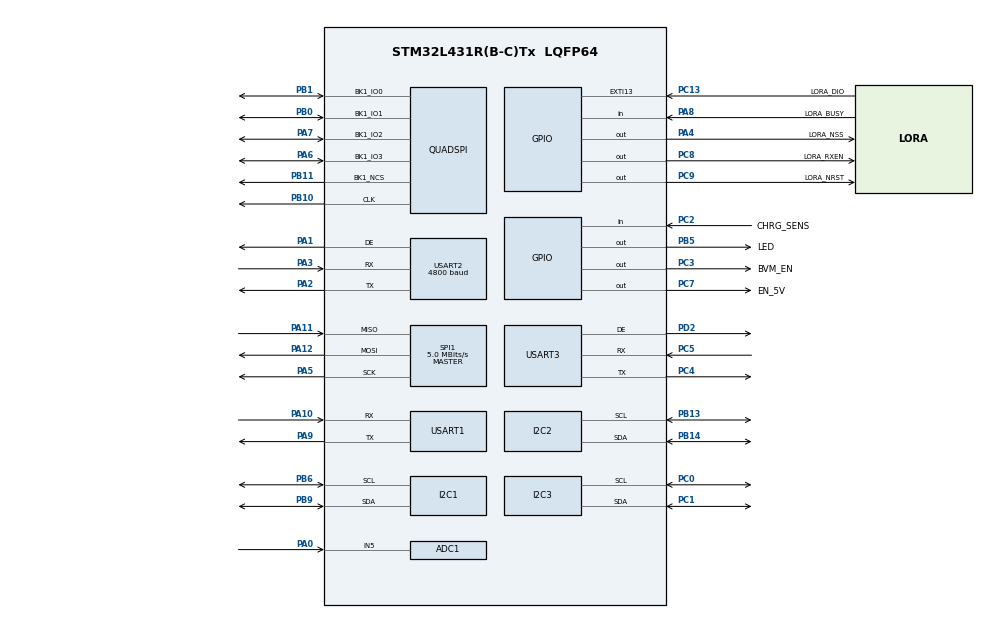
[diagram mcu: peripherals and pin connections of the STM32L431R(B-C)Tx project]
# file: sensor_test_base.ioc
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ADC1.Channel-1\#ChannelRegularConversion=ADC_CHANNEL_5
ADC1.ClockPrescaler=ADC_CLOCK_ASYNC_DIV128
ADC1.NbrOfConversion=1
ADC1.NbrOfConversionFlag=1
ADC1.OffsetNumber-1\#ChannelRegularConversion=ADC_OFFSET_NONE
ADC1.Rank-1\#ChannelRegularConversion=1
ADC1.SamplingTime-1\#ChannelRegularConversion=ADC_SAMPLETIME_2CYCLES_5
ADC1.master=1
Dma.Request0=USART1_TX
Dma.USART1_TX.0.Direction=DMA_MEMORY_TO_PERIPH
Dma.USART1_TX.0.Instance=DMA1_Channel4
Dma.USART1_TX.0.MemDataAlignment=DMA_MDATAALIGN_BYTE
Dma.USART1_TX.0.MemInc=DMA_MINC_ENABLE
Dma.USART1_TX.0.Mode=DMA_NORMAL
Dma.USART1_TX.0.PeriphDataAlignment=DMA_PDATAALIGN_BYTE
Dma.USART1_TX.0.PeriphInc=DMA_PINC_DISABLE
Dma.USART1_TX.0.Priority=DMA_PRIORITY_LOW
I2C1.Timing=0x10D19CE4
I2C2.Timing=0x10D19CE4
I2C3.Timing=0x10D19CE4
LPTIM1.ClockPrescaler=LPTIM_PRESCALER_DIV16
Mcu.Family=STM32L4
Mcu.Name=STM32L431R(B-C)Tx
Mcu.Package=LQFP64
NVIC.DMA1_Channel4_IRQn=true\:0\:0\:false\:false\:true\:false\:true\:true
NVIC.EXTI15_10_IRQn=true\:0\:0\:false\:false\:true\:true\:true\:true
NVIC.LPTIM1_IRQn=true\:0\:0\:false\:false\:true\:true\:true\:true
NVIC.PriorityGroup=NVIC_PRIORITYGROUP_4
NVIC.RTC_WKUP_IRQn=true\:0\:0\:false\:false\:true\:true\:true\:true
NVIC.USART1_IRQn=true\:0\:0\:false\:false\:true\:true\:true\:true
PA0.Signal=ADCx_IN5
PA1.Mode=Hardware Flow Control (RS485)
PA1.Signal=USART2_DE
PA10.Mode=Asynchronous
PA10.Signal=USART1_RX
PA11.Mode=Full_Duplex_Master
PA11.Signal=SPI1_MISO
PA12.Mode=Full_Duplex_Master
PA12.Signal=SPI1_MOSI
PA13\ (JTMS-SWDIO).Mode=JTAG_4_pins
PA13\ (JTMS-SWDIO).Signal=SYS_JTMS-SWDIO
PA14\ (JTCK-SWCLK).Mode=JTAG_4_pins
PA14\ (JTCK-SWCLK).Signal=SYS_JTCK-SWCLK
PA15\ (JTDI).Mode=JTAG_4_pins
PA15\ (JTDI).Signal=SYS_JTDI
PA2.Mode=Asynchronous
PA2.Signal=USART2_TX
PA3.Mode=Asynchronous
PA3.Signal=USART2_RX
PA4.GPIO_Label=LORA_NSS
PA4.Signal=GPIO_Output
PA5.Mode=Full_Duplex_Master
PA5.Signal=SPI1_SCK
PA6.Mode=Single Bank 1
PA6.Signal=QUADSPI_BK1_IO3
PA7.Mode=Single Bank 1
PA7.Signal=QUADSPI_BK1_IO2
PA8.GPIO_Label=LORA_BUSY
PA8.Signal=GPIO_Input
PA9.Mode=Asynchronous
PA9.Signal=USART1_TX
PB0.Mode=Single Bank 1
PB0.Signal=QUADSPI_BK1_IO1
PB1.Mode=Single Bank 1
PB1.Signal=QUADSPI_BK1_IO0
PB10.Mode=Single Bank 1
PB10.Signal=QUADSPI_CLK
PB11.Mode=Single Bank 1
PB11.Signal=QUADSPI_BK1_NCS
PB13.Mode=I2C
PB13.Signal=I2C2_SCL
PB14.Mode=I2C
PB14.Signal=I2C2_SDA
PB3\ (JTDO-TRACESWO).Mode=JTAG_4_pins
PB3\ (JTDO-TRACESWO).Signal=SYS_JTDO-SWO
PB5.GPIO_Label=LED
PB5.Signal=GPIO_Output
PB6.Mode=I2C
PB6.Signal=I2C1_SCL
PB9.Mode=I2C
PB9.Signal=I2C1_SDA
PC0.Mode=I2C
PC0.Signal=I2C3_SCL
PC1.Mode=I2C
PC1.Signal=I2C3_SDA
PC13.GPIO_Label=LORA_DIO
PC13.GPIO_PuPd=GPIO_PULLDOWN
PC13.Signal=GPXTI13
PC14-OSC32_IN\ (PC14).Mode=LSE-External-Oscillator
PC14-OSC32_IN\ (PC14).Signal=RCC_OSC32_IN
PC15-OSC32_OUT\ (PC15).Mode=LSE-External-Oscillator
PC15-OSC32_OUT\ (PC15).Signal=RCC_OSC32_OUT
PC2.GPIO_Label=CHRG_SENS
PC2.Signal=GPIO_Input
PC3.GPIO_Label=BVM_EN
PC3.Signal=GPIO_Output
PC4.Mode=Asynchronous
PC4.Signal=USART3_TX
PC5.Mode=Asynchronous
PC5.Signal=USART3_RX
PC7.GPIO_Label=EN_5V
PC7.Signal=GPIO_Output
PC8.GPIO_Label=LORA_RXEN
PC8.Signal=GPIO_Output
PC9.GPIO_Label=LORA_NRST
PC9.Signal=GPIO_Output
PD2.Mode=Hardware Flow Control (RS485)
PD2.Signal=USART3_DE
PH0-OSC_IN\ (PH0).Mode=HSE-External-Oscillator
PH0-OSC_IN\ (PH0).Signal=RCC_OSC_IN
PH1-OSC_OUT\ (PH1).Mode=HSE-External-Oscillator
PH1-OSC_OUT\ (PH1).Signal=RCC_OSC_OUT
ProjectManager.HeapSize=0x200
ProjectManager.StackSize=0x1000
ProjectManager.TargetToolchain=STM32CubeIDE
RCC.ADCFreq_Value=64000000
RCC.AHBFreq_Value=80000000
RCC.APB1Freq_Value=80000000
RCC.APB1TimFreq_Value=80000000
RCC.APB2Freq_Value=80000000
RCC.APB2TimFreq_Value=80000000
RCC.CortexFreq_Value=80000000
RCC.DATA_CACHE_ENABLE=0
RCC.HCLKFreq_Value=80000000
RCC.HSE_VALUE=8000000
RCC.HSI48_VALUE=48000000
RCC.HSI_VALUE=16000000
RCC.INSTRUCTION_CACHE_ENABLE=1
RCC.LPTIM1CLockSelection=RCC_LPTIM1CLKSOURCE_LSE
RCC.LPTIM2CLockSelection=RCC_LPTIM2CLKSOURCE_LSE
RCC.LSE_Drive_Capability=RCC_LSEDRIVE_MEDIUMLOW
RCC.MSI_VALUE=4000000
RCC.PLLN=20
RCC.PLLSAI1N=16
RCC.PLLSAI1Q=RCC_PLLQ_DIV4
RCC.PLLSourceVirtual=RCC_PLLSOURCE_HSE
RCC.RTCClockSelection=RCC_RTCCLKSOURCE_LSE
RCC.SYSCLKFreq_VALUE=80000000
RCC.SYSCLKSource=RCC_SYSCLKSOURCE_PLLCLK
RCC.VCOOutputFreq_Value=160000000
RTC.AsynchPrediv=31
RTC.Format=RTC_FORMAT_BIN
RTC.SynchPrediv=1023
SH.ADCx_IN5.0=ADC1_IN5,IN5-Single-Ended
SPI1.BaudRatePrescaler=SPI_BAUDRATEPRESCALER_16
SPI1.CalculateBaudRate=5.0 MBits/s
SPI1.DataSize=SPI_DATASIZE_8BIT
SPI1.Direction=SPI_DIRECTION_2LINES
SPI1.Mode=SPI_MODE_MASTER
SPI1.VirtualType=VM_MASTER
USART1.VirtualMode-Asynchronous=VM_ASYNC
USART2.BaudRate=4800
USART2.VirtualMode-Asynchronous=VM_ASYNC
USART2.VirtualMode-Hardware\ Flow\ Control\ (RS485)=VM_ASYNC
USART3.VirtualMode-Asynchronous=VM_ASYNC
USART3.VirtualMode-Hardware\ Flow\ Control\ (RS485)=VM_ASYNC
VP_CRC_VS_CRC.Mode=CRC_Activate
VP_LPTIM1_VS_LPTIM_counterModeInternalClock.Mode=Counts__internal_clock_event_00
VP_LPTIM2_VS_LPTIM_counterModeInternalClock.Mode=Counts__internal_clock_event_00
VP_RNG_VS_RNG.Mode=RNG_Activate
VP_RTC_VS_RTC_Activate.Mode=RTC_Enabled
VP_RTC_VS_RTC_Calendar.Mode=RTC_Calendar
VP_RTC_VS_RTC_WakeUp_intern.Mode=WakeUp
board=custom

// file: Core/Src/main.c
/* USER CODE BEGIN Header */
/**
  ******************************************************************************
  * @file           : main.c
  * @brief          : Main program body
  ******************************************************************************
  * @attention
  *
  * Copyright (c) 2025 STMicroelectronics.
  * All rights reserved.
  *
  * This software is licensed under terms that can be found in the LICENSE file
  * in the root directory of this software component.
  * If no LICENSE file comes with this software, it is provided AS-IS.
  *
  ******************************************************************************
  */
/* USER CODE END Header */
#include "main.h"
#include "adc.h"
#include "crc.h"
#include "dma.h"
#include "i2c.h"
#include "lptim.h"
#include "quadspi.h"
#include "rng.h"
#include "rtc.h"
#include "spi.h"
#include "usart.h"
#include "gpio.h"

/* USER CODE BEGIN Includes */
#include "sensor2_i2c.h"

#include "smtc_hal_dbg_trace.h"

#include "scd4x_i2c.h"
#include "sensirion_common.h"
#include "sensirion_i2c_hal.h"

#include "llcc68.h"
#include "llcc68_context.h"
/* USER CODE END Includes */

/* USER CODE BEGIN PV */

extern uint8_t uart_busy;
extern uint32_t buf_head, buf_tail;

/* USER CODE END PV */

void SystemClock_Config(void);
void PeriphCommonClock_Config(void);
/* USER CODE BEGIN PFP */

void hal_mcu_set_sleep_for_ms(int32_t milliseconds);
uint32_t rtc_time_to_ms(const RTC_TimeTypeDef *t, uint32_t prediv_s);
int32_t rtc_diff_ms(const RTC_TimeTypeDef *t1,
                    const RTC_TimeTypeDef *t2,
                    uint32_t prediv_s);

/* USER CODE END PFP */

/* USER CODE BEGIN 0 */
void convert_and_print_serial(uint16_t* serial_raw) {
    uint64_t serial_as_int = 0;
    sensirion_common_to_integer((uint8_t*)serial_raw, (uint8_t*)&serial_as_int,
                                LONG_INTEGER, 6);
    SMTC_HAL_TRACE_PRINTF("0x%x", serial_as_int);
}

llcc68_context_t radio_context = {
    .spi = &hspi1,
    .nss_port = LORA_NSS_GPIO_Port,
    .nss_pin = LORA_NSS_Pin,
    .reset_port = LORA_NRST_GPIO_Port,
    .reset_pin = LORA_NRST_Pin,
    .busy_port = LORA_BUSY_GPIO_Port,
    .busy_pin = LORA_BUSY_Pin
};

/* USER CODE END 0 */

int main(void)
{

  /* MCU Configuration--------------------------------------------------------*/

  /* Reset of all peripherals, Initializes the Flash interface and the Systick. */
  HAL_Init();

  /* Configure the system clock */
  SystemClock_Config();

  /* Configure the peripherals common clocks */
  PeriphCommonClock_Config();

  /* Initialize all configured peripherals */
  MX_GPIO_Init();
  MX_DMA_Init();
  MX_ADC1_Init();
  MX_I2C1_Init();
  MX_I2C2_Init();
  MX_I2C3_Init();
  MX_LPTIM1_Init();
  MX_LPTIM2_Init();
  MX_QUADSPI_Init();
  MX_RNG_Init();
  MX_RTC_Init();
  MX_SPI1_Init();
  MX_USART1_UART_Init();
  MX_USART2_UART_Init();
  MX_USART3_UART_Init();
  MX_CRC_Init();
  /* USER CODE BEGIN 2 */

  hal_trace_print_init(&huart1);

  HAL_StatusTypeDef status;
  uint8_t I2Ccount=0;

  CoreDebug->DEMCR |= CoreDebug_DEMCR_TRCENA_Msk; // Включение DWT
  DWT->CYCCNT = 0; // Сброс счётчика
  DWT->CTRL |= DWT_CTRL_CYCCNTENA_Msk; // Включение счётчика циклов

  SMTC_HAL_TRACE_INFO("Hullo there!\n");
  SMTC_HAL_TRACE_INFO("Initializing I2C\n");

  I2C_HandleTypeDef *i2c_handles[3] = {&hi2c1, &hi2c2, &hi2c3};

  status = I2C_Sensor_Init(i2c_handles, 3);

  if (status != HAL_OK) {
	  SMTC_HAL_TRACE_ERROR("FUCK! Failed to init i2c lib \n");
  }

  status = I2C_Sensor_Discover_Devices(&I2Ccount);
  if (status != HAL_OK) {
  	  SMTC_HAL_TRACE_ERROR("FUCK! Failed to count i2c devices \n");
  }

  HAL_Delay(100);

  HAL_GPIO_WritePin(EN_5V_GPIO_Port, EN_5V_Pin, 0);

  RTC_TimeTypeDef last_time = {0};  // Время последнего измерения
  RTC_TimeTypeDef now_time = {0};
  RTC_DateTypeDef placeholder_date = {0};

  HAL_RTC_GetTime(&hrtc, &now_time, RTC_FORMAT_BIN);
  HAL_RTC_GetDate(&hrtc, &placeholder_date, RTC_FORMAT_BIN);
  last_time = now_time;

  uint32_t delta, delta2;
  uint32_t integralDelta = 0;

  uint8_t outData[51];

  /* USER CODE END 2 */

  /* Infinite loop */
  while (1)
  {

    /* USER CODE BEGIN 3 */

	for (int i=0; i<10; i++){
		HAL_RTC_GetTime(&hrtc, &now_time, RTC_FORMAT_BIN);
		HAL_RTC_GetDate(&hrtc, &placeholder_date, RTC_FORMAT_BIN);

		delta = rtc_diff_ms(&last_time, &now_time, 1023);
		integralDelta += delta;

		last_time = now_time;

		//SMTC_HAL_TRACE_INFO("Delta: %d\n", delta);

		I2C_Sensor_Run(delta);

		uint8_t arrsize = 0;

		if (integralDelta > 60*1000) {
			I2C_Sensor_Fetch_Data(outData, &arrsize);
			SMTC_HAL_TRACE_ARRAY("Data out:",outData,arrsize);
			integralDelta = 0;
		}

		HAL_Delay(10);
	}

	__disable_irq();
	hal_mcu_set_sleep_for_ms(10000);
	__enable_irq();

  }
  /* USER CODE END 3 */
}

void SystemClock_Config(void)
{
  LL_FLASH_SetLatency(LL_FLASH_LATENCY_4);
  while(LL_FLASH_GetLatency()!= LL_FLASH_LATENCY_4)
  {
  }
  LL_PWR_SetRegulVoltageScaling(LL_PWR_REGU_VOLTAGE_SCALE1);
  while (LL_PWR_IsActiveFlag_VOS() != 0)
  {
  }
  LL_RCC_HSE_Enable();

   /* Wait till HSE is ready */
  while(LL_RCC_HSE_IsReady() != 1)
  {

  }
  LL_PWR_EnableBkUpAccess();
  LL_RCC_LSE_SetDriveCapability(LL_RCC_LSEDRIVE_MEDIUMLOW);
  LL_RCC_LSE_Enable();

   /* Wait till LSE is ready */
  while(LL_RCC_LSE_IsReady() != 1)
  {

  }
  LL_RCC_PLL_ConfigDomain_SYS(LL_RCC_PLLSOURCE_HSE, LL_RCC_PLLM_DIV_1, 20, LL_RCC_PLLR_DIV_2);
  LL_RCC_PLL_EnableDomain_SYS();
  LL_RCC_PLL_Enable();

   /* Wait till PLL is ready */
  while(LL_RCC_PLL_IsReady() != 1)
  {

  }
  LL_RCC_SetSysClkSource(LL_RCC_SYS_CLKSOURCE_PLL);

   /* Wait till System clock is ready */
  while(LL_RCC_GetSysClkSource() != LL_RCC_SYS_CLKSOURCE_STATUS_PLL)
  {

  }
  LL_RCC_SetAHBPrescaler(LL_RCC_SYSCLK_DIV_1);
  LL_RCC_SetAPB1Prescaler(LL_RCC_APB1_DIV_1);
  LL_RCC_SetAPB2Prescaler(LL_RCC_APB2_DIV_1);
  LL_SetSystemCoreClock(80000000);

   /* Update the time base */
  if (HAL_InitTick (TICK_INT_PRIORITY) != HAL_OK)
  {
    Error_Handler();
  }
}

void PeriphCommonClock_Config(void)
{
  LL_RCC_PLLSAI1_ConfigDomain_48M(LL_RCC_PLLSOURCE_HSE, LL_RCC_PLLM_DIV_1, 16, LL_RCC_PLLSAI1Q_DIV_4);
  LL_RCC_PLLSAI1_ConfigDomain_ADC(LL_RCC_PLLSOURCE_HSE, LL_RCC_PLLM_DIV_1, 16, LL_RCC_PLLSAI1R_DIV_2);
  LL_RCC_PLLSAI1_EnableDomain_48M();
  LL_RCC_PLLSAI1_EnableDomain_ADC();
  LL_RCC_PLLSAI1_Enable();

   /* Wait till PLLSAI1 is ready */
  while(LL_RCC_PLLSAI1_IsReady() != 1)
  {

  }
}

/* USER CODE BEGIN 4 */

void hal_mcu_set_sleep_for_ms(int32_t milliseconds)
{
    HAL_StatusTypeDef rtcStatus = HAL_OK;

    if (milliseconds <= 0) {
        return;
    }

    // 1. Дождаться завершения всех DMA-передач по UART
	// Таймаут 5 мс (достаточно для 20 байт при 460800 бит/с = ~0.43 мс)
	// SystemCoreClock - частота процессора в Гц, делим на 1000 для мс
	const uint32_t cycles_per_ms = SystemCoreClock / 1000;
	const uint32_t timeout_cycles = 5 * cycles_per_ms; // 5 мс
	volatile uint32_t count = timeout_cycles;

	__enable_irq();

	while (uart_busy && count > 0) {
		__NOP(); // Инструкция NOP
		count--;
	}

    if (uart_busy) {
        // Принудительно завершаем DMA, если таймаут истёк
        HAL_DMA_Abort(huart1.hdmatx);
        uart_busy = 0;
    }

    __disable_irq();

    buf_head = 0;
	buf_tail = 0;
	uart_busy = 0;

    // 2. Отключение DMA для UART
    if (huart1.hdmatx != NULL) {
    	HAL_UART_DMAStop(&huart1);
    	HAL_DMA_Abort(huart1.hdmatx);
        HAL_DMA_DeInit(huart1.hdmatx); // Деинициализируем DMA-канал
    }

    // 3. Настройка RTC Wake-Up Timer для пробуждения
    uint32_t delay_ms_2_tick = milliseconds * 2 + ((6 * milliseconds) >> 7);

    rtcStatus = HAL_RTCEx_DeactivateWakeUpTimer(&hrtc);
    if (rtcStatus != HAL_OK) {
        return;
    }

    rtcStatus = HAL_RTCEx_SetWakeUpTimer_IT(&hrtc, delay_ms_2_tick, RTC_WAKEUPCLOCK_RTCCLK_DIV16);
    if (rtcStatus != HAL_OK) {
        return;
    }

    // 4. Отключение ненужной периферии перед входом в STOP2
    HAL_SuspendTick();
    HAL_SPI_DeInit(&hspi1);
    HAL_ADC_DeInit(&hadc1);
    HAL_I2C_DeInit(&hi2c1);
    HAL_I2C_DeInit(&hi2c2);
    HAL_I2C_DeInit(&hi2c3);
    HAL_QSPI_DeInit(&hqspi);
    HAL_RNG_DeInit(&hrng);
    HAL_UART_DeInit(&huart1);
    HAL_UART_DeInit(&huart2);
    HAL_UART_DeInit(&huart3);
    HAL_CRC_DeInit(&hcrc);

    // 5. Обеспечение завершения всех операций
    __DSB();
    __ISB();

    // 6. Вход в режим STOP2
    HAL_PWREx_EnterSTOP2Mode(PWR_STOPENTRY_WFI);

    // 7. Восстановление после выхода из STOP2
    SystemClock_Config();
    PeriphCommonClock_Config();

    // 8. Инициализация периферии
    MX_DMA_Init();
    MX_ADC1_Init();
    MX_I2C1_Init();
    MX_I2C2_Init();
    MX_I2C3_Init();
    MX_QUADSPI_Init();
    MX_RNG_Init();
    MX_SPI1_Init();
    MX_USART1_UART_Init(); // Уже включает инициализацию DMA
    MX_USART2_UART_Init();
    MX_USART3_UART_Init();
    MX_CRC_Init();

    // 9. Восстановление кольцевого буфера
    uart_busy = 0; // Сбрасываем флаг занятости
    if (buf_head != buf_tail) {
        // Если в буфере остались данные, запускаем передачу
        start_next_transmission();
    }

    HAL_ResumeTick();

    // 10. Отключение RTC Wake-Up Timer
    rtcStatus = HAL_RTCEx_DeactivateWakeUpTimer(&hrtc);
}

uint32_t rtc_time_to_ms(const RTC_TimeTypeDef *t, uint32_t prediv_s)
{
    /* Секундная часть */
    uint32_t ms = ((uint32_t)t->Hours   * 3600UL +
                   (uint32_t)t->Minutes *   60UL +
                   (uint32_t)t->Seconds) * 1000UL;

    /* Дробная часть: SubSeconds убывает! */
    uint32_t sub_ms = ((prediv_s - t->SubSeconds) * 1000UL) / (prediv_s + 1UL);

    return ms + sub_ms;
}

/* Возвращает Δt в миллисекундах (signed 32-bit); корректно работает с переходом через полночь */
int32_t rtc_diff_ms(const RTC_TimeTypeDef *t1,
                    const RTC_TimeTypeDef *t2,
                    uint32_t prediv_s)
{
    int32_t ms1 = (int32_t)rtc_time_to_ms(t1, prediv_s);
    int32_t ms2 = (int32_t)rtc_time_to_ms(t2, prediv_s);

    int32_t diff = ms2 - ms1;

    /* Если перешли через 24 ч, поправляем на полный день (86 400 000 мс) */
    if (diff < -43200000)       diff += 86400000;   // назад через полночь
    else if (diff > 43200000)   diff -= 86400000;   // вперёд через полночь

    return diff;
}

/* USER CODE END 4 */

void Error_Handler(void)
{
  __disable_irq();
  while (1)
  {
  }
}
